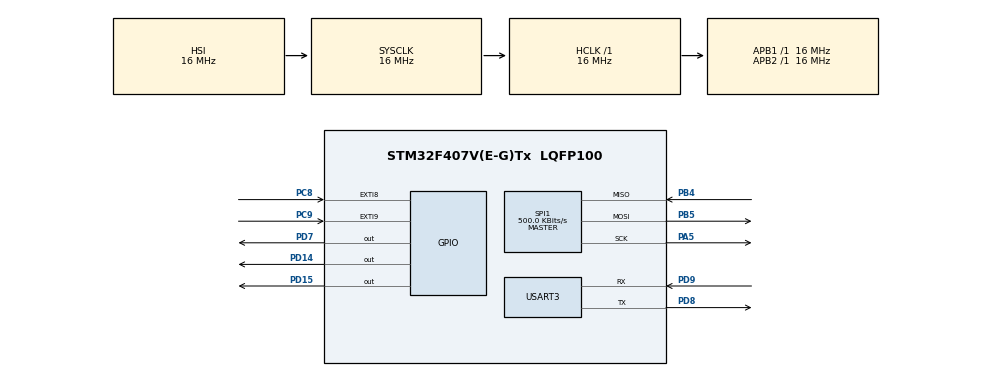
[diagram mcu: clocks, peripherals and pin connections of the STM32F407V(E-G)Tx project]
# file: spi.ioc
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Mcu.Family=STM32F4
Mcu.Name=STM32F407V(E-G)Tx
Mcu.Package=LQFP100
NVIC.EXTI9_5_IRQn=true\:0\:0\:false\:false\:true\:true\:true
NVIC.PriorityGroup=NVIC_PRIORITYGROUP_4
PA5.Mode=Full_Duplex_Master
PA5.Signal=SPI1_SCK
PB4.Mode=Full_Duplex_Master
PB4.Signal=SPI1_MISO
PB5.Mode=Full_Duplex_Master
PB5.Signal=SPI1_MOSI
PC8.Signal=GPXTI8
PC9.Signal=GPXTI9
PD14.Signal=GPIO_Output
PD15.Signal=GPIO_Output
PD7.Signal=GPIO_Output
PD8.Mode=Asynchronous
PD8.Signal=USART3_TX
PD9.Mode=Asynchronous
PD9.Signal=USART3_RX
ProjectManager.HeapSize=0x200
ProjectManager.StackSize=0x400
ProjectManager.TargetToolchain=SW4STM32
RCC.AHBFreq_Value=16000000
RCC.APB1Freq_Value=16000000
RCC.APB2Freq_Value=16000000
RCC.CortexFreq_Value=16000000
RCC.HSE_VALUE=25000000
RCC.HSI_VALUE=16000000
RCC.LSE_VALUE=32768
RCC.SYSCLKFreq_VALUE=16000000
RCC.VCOOutputFreq_Value=192000000
SPI1.BaudRatePrescaler=SPI_BAUDRATEPRESCALER_32
SPI1.CLKPolarity=SPI_POLARITY_LOW
SPI1.CRCCalculation=SPI_CRCCALCULATION_DISABLE
SPI1.CalculateBaudRate=500.0 KBits/s
SPI1.DataSize=SPI_DATASIZE_8BIT
SPI1.Direction=SPI_DIRECTION_2LINES
SPI1.Mode=SPI_MODE_MASTER
SPI1.VirtualType=VM_MASTER
USART3.VirtualMode=VM_ASYNC
board=custom

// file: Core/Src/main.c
/* USER CODE BEGIN Header */
/**
  ******************************************************************************
  * @file           : main.c
  * @brief          : Main program body
  ******************************************************************************
  * @attention
  *
  * <h2><center>&copy; Copyright (c) 2021 STMicroelectronics.
  * All rights reserved.</center></h2>
  *
  * This software component is licensed by ST under BSD 3-Clause license,
  * the "License"; You may not use this file except in compliance with the
  * License. You may obtain a copy of the License at:
  *                        opensource.org/licenses/BSD-3-Clause
  *
  ******************************************************************************
  */
/* USER CODE END Header */
#include "main.h"
#include "spi.h"
#include "usart.h"
#include "gpio.h"

void SystemClock_Config(void);

int main(void)
{
  /* USER CODE BEGIN 1 */
  uint8_t buf[256];
  uint8_t Byte;
  uint16_t address;
  uint8_t status;
  uint8_t i = 0;
  uint8_t j = 0;
  uint8_t count = 0;

  /* USER CODE END 1 */

  /* MCU Configuration--------------------------------------------------------*/

  /* Reset of all peripherals, Initializes the Flash interface and the Systick. */
  HAL_Init();

  /* Configure the system clock */
  SystemClock_Config();

  /* Initialize all configured peripherals */
  MX_GPIO_Init();
  MX_SPI1_Init();
  MX_USART3_UART_Init();
  /* USER CODE BEGIN 2 */

 // HAL_UART_Transmit(&huart3, (uint8_t*)"Start", 5, 100);
  SST25_Init();

  /* USER CODE END 2 */

  /* Infinite loop */
  /* USER CODE BEGIN WHILE */
  SST25_WriteStatusRegister(0); // Unprotected memory
  HAL_GPIO_TogglePin(GPIOD,GPIO_PIN_15);

  while(1)
  {

	  SST25_EraseChip();

	  i = 0;
	  count = 0;
	  address = 0x0000;
	  Byte = 0;

	  do
	  {
		  if (HAL_UART_Receive(&huart3,&Byte,1,100) == HAL_OK)
		  {
			  buf[i] = Byte;
			  i++;
			  if(Byte == 10)
			  {
				  SST25_WritePage(buf,address);
				  address = address + 0x0100;
				  count++;
				  i=0;
			  }
			  HAL_UART_Transmit(&huart3, &Byte,1,100);
		  }
	  }
	  while(Byte != 26); // End Write File

	  for(i = 0;i < count; i++)
	  {
		  address = i * 0x0100;
		  SST25_ReadPage(buf,address);
		  j = 0;
		  do
		  {
			  j++;
		  }while(buf[j] != 10);
		  HAL_UART_Transmit(&huart3,buf,j,100);
	  }

	  Byte = 26;
	  HAL_UART_Transmit(&huart3,&Byte,1,10);

	  status =SST25_ReadStatusRegister();
	  HAL_UART_Transmit(&huart3,&status,1,10);
    /* USER CODE END WHILE */

  }
}

void SystemClock_Config(void)
{
  RCC_OscInitTypeDef RCC_OscInitStruct = {0};
  RCC_ClkInitTypeDef RCC_ClkInitStruct = {0};

  /** Configure the main internal regulator output voltage
  */
  __HAL_RCC_PWR_CLK_ENABLE();
  __HAL_PWR_VOLTAGESCALING_CONFIG(PWR_REGULATOR_VOLTAGE_SCALE1);
  /** Initializes the RCC Oscillators according to the specified parameters
  * in the RCC_OscInitTypeDef structure.
  */
  RCC_OscInitStruct.OscillatorType = RCC_OSCILLATORTYPE_HSI;
  RCC_OscInitStruct.HSIState = RCC_HSI_ON;
  RCC_OscInitStruct.HSICalibrationValue = RCC_HSICALIBRATION_DEFAULT;
  RCC_OscInitStruct.PLL.PLLState = RCC_PLL_NONE;
  if (HAL_RCC_OscConfig(&RCC_OscInitStruct) != HAL_OK)
  {
    Error_Handler();
  }
  /** Initializes the CPU, AHB and APB buses clocks
  */
  RCC_ClkInitStruct.ClockType = RCC_CLOCKTYPE_HCLK|RCC_CLOCKTYPE_SYSCLK
                              |RCC_CLOCKTYPE_PCLK1|RCC_CLOCKTYPE_PCLK2;
  RCC_ClkInitStruct.SYSCLKSource = RCC_SYSCLKSOURCE_HSI;
  RCC_ClkInitStruct.AHBCLKDivider = RCC_SYSCLK_DIV1;
  RCC_ClkInitStruct.APB1CLKDivider = RCC_HCLK_DIV1;
  RCC_ClkInitStruct.APB2CLKDivider = RCC_HCLK_DIV1;

  if (HAL_RCC_ClockConfig(&RCC_ClkInitStruct, FLASH_LATENCY_0) != HAL_OK)
  {
    Error_Handler();
  }
}

void Error_Handler(void)
{
}

/************************ (C) COPYRIGHT STMicroelectronics *****END OF FILE****/
